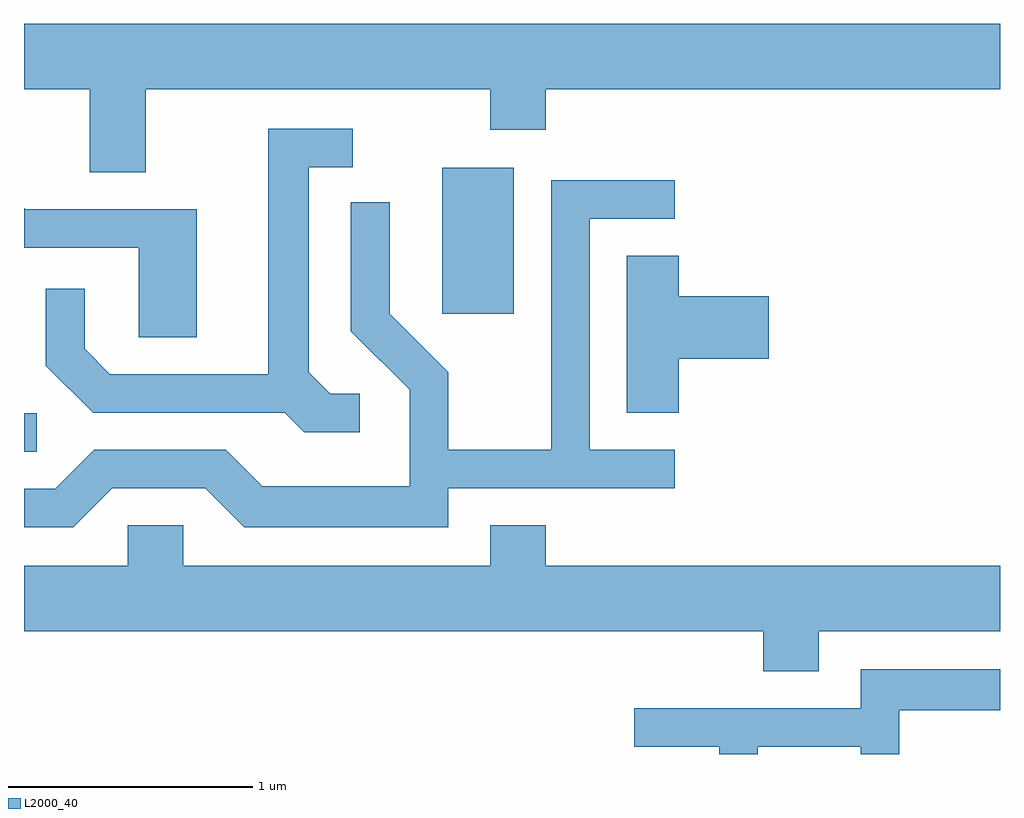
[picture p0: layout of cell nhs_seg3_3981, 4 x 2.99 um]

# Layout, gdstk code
import gdstk
lib = gdstk.Library(unit=1e-6, precision=1e-09)
def R(c, l, rs):  # rectangles x0, y0, x1, y1
    for r in rs: c.add(gdstk.rectangle(r[:2], r[2:], *l))
def P(c, l, *ps):  # polygons
    for p in ps: c.add(gdstk.Polygon(p, *l))
L2000_40 = (2000, 40)

nhs_seg3_3981 = lib.new_cell('nhs_seg3_3981')
R(nhs_seg3_3981, L2000_40, [(301.611,1191.131,301.663,1191.289), (303.326,1191.696,303.619,1192.294)])
P(nhs_seg3_3981, L2000_40, [(302.109,1192.616),(303.521,1192.616),(303.521,1192.451),(303.749,1192.451),(303.749,1192.616),(305.611,1192.616),(305.611,1192.884),(301.611,1192.884),(301.611,1192.616),(301.881,1192.616),(301.881,1192.276),(302.109,1192.276)],
  [(302.988,1191.369),(302.867,1191.369),(302.779,1191.457),(302.779,1192.296),(302.958,1192.296),(302.958,1192.454),(302.611,1192.454),(302.611,1191.449),(301.962,1191.449),(301.859,1191.552),(301.859,1191.798),(301.701,1191.798),(301.701,1191.484),(301.894,1191.291),(302.679,1191.291),(302.759,1191.211),(302.988,1191.211)],
  [(301.972,1190.981),(302.354,1190.981),(302.514,1190.821),(303.349,1190.821),(303.349,1190.981),(304.278,1190.981),(304.278,1191.139),(303.929,1191.139),(303.929,1192.086),(304.278,1192.086),(304.278,1192.244),(303.771,1192.244),(303.771,1191.139),(303.349,1191.139),(303.349,1191.457),(303.109,1191.697),(303.109,1192.153),(302.951,1192.153),(302.951,1191.624),(303.191,1191.384),(303.191,1190.989),(302.587,1190.989),(302.437,1191.139),(301.899,1191.139),(301.739,1190.979),(301.611,1190.979),(301.611,1190.821),(301.812,1190.821)],
  [(302.319,1192.124),(301.615,1192.124),(301.615,1192.129),(301.611,1192.129),(301.611,1191.966),(302.081,1191.966),(302.081,1191.601),(302.319,1191.601)],
  [(304.294,1191.511),(304.664,1191.511),(304.664,1191.769),(304.294,1191.769),(304.294,1191.934),(304.081,1191.934),(304.081,1191.291),(304.294,1191.291)],
  [(304.869,1190.396),(305.611,1190.396),(305.611,1190.664),(303.749,1190.664),(303.749,1190.829),(303.521,1190.829),(303.521,1190.664),(302.264,1190.664),(302.264,1190.829),(302.036,1190.829),(302.036,1190.664),(301.611,1190.664),(301.611,1190.396),(304.641,1190.396),(304.641,1190.231),(304.869,1190.231)],
  [(304.619,1189.921),(305.041,1189.921),(305.041,1189.892),(305.199,1189.892),(305.199,1190.071),(305.611,1190.071),(305.611,1190.239),(305.041,1190.239),(305.041,1190.079),(304.113,1190.079),(304.113,1189.921),(304.461,1189.921),(304.461,1189.892),(304.619,1189.892)])

lib.write_gds('nhs_seg3_3981.gds')
